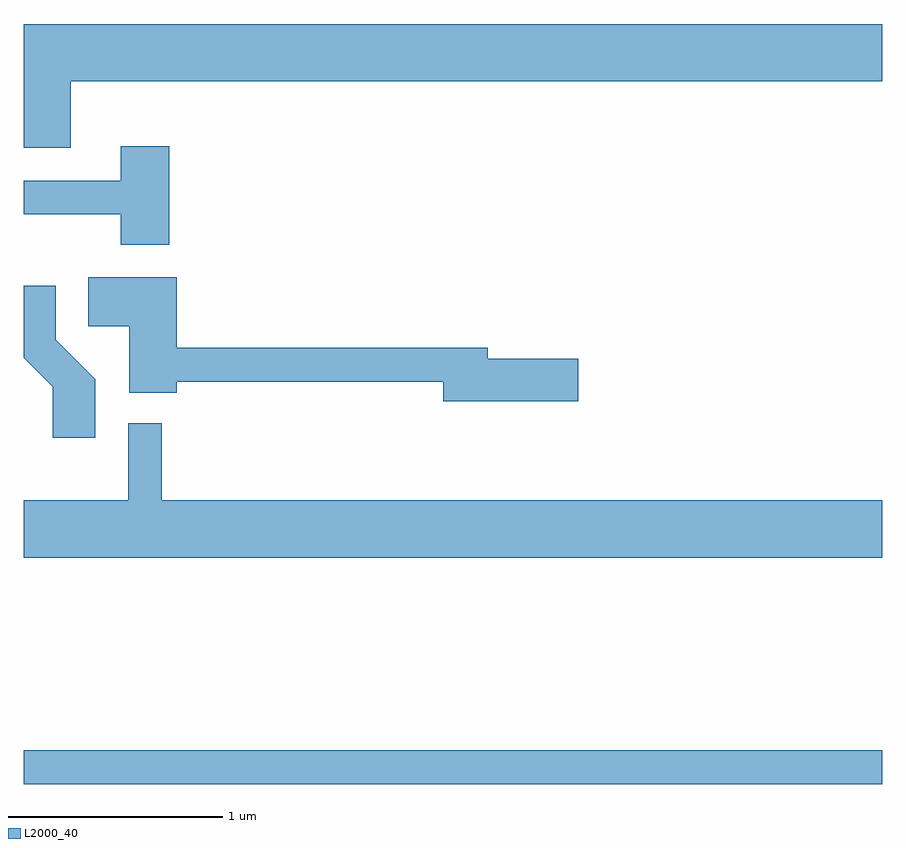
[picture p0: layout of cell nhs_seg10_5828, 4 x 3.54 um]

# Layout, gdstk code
import gdstk
lib = gdstk.Library(unit=1e-6, precision=1e-09)
def R(c, l, rs):  # rectangles x0, y0, x1, y1
    for r in rs: c.add(gdstk.rectangle(r[:2], r[2:], *l))
def P(c, l, *ps):  # polygons
    for p in ps: c.add(gdstk.Polygon(p, *l))
L2000_40 = (2000, 40)

nhs_seg10_5828 = lib.new_cell('nhs_seg10_5828')
R(nhs_seg10_5828, L2000_40, [(357.611,2110.641,361.611,2110.799)])
P(nhs_seg10_5828, L2000_40, [(357.829,2113.916),(361.611,2113.916),(361.611,2114.184),(357.611,2114.184),(357.611,2113.606),(357.829,2113.606)],
  [(358.289,2113.614),(358.061,2113.614),(358.061,2113.454),(357.611,2113.454),(357.611,2113.296),(358.061,2113.296),(358.061,2113.156),(358.289,2113.156)],
  [(360.194,2112.624),(359.774,2112.624),(359.774,2112.674),(358.324,2112.674),(358.324,2113.004),(357.911,2113.004),(357.911,2112.776),(358.101,2112.776),(358.101,2112.466),(358.324,2112.466),(358.324,2112.516),(359.566,2112.516),(359.566,2112.426),(360.194,2112.426)],
  [(357.944,2112.527),(357.759,2112.712),(357.759,2112.964),(357.611,2112.964),(357.611,2112.629),(357.746,2112.494),(357.746,2112.256),(357.944,2112.256)],
  [(361.611,2111.964),(358.254,2111.964),(358.254,2112.323),(358.096,2112.323),(358.096,2111.964),(357.611,2111.964),(357.611,2111.696),(361.611,2111.696)])

lib.write_gds('nhs_seg10_5828.gds')
